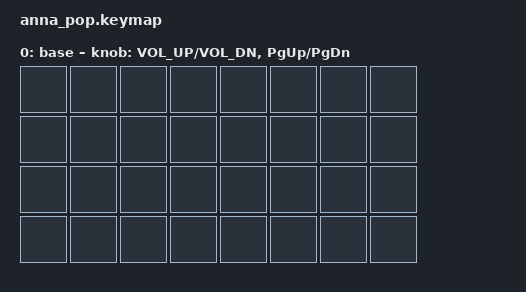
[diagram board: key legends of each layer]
/*
 * Copyright (c) 2021 The ZMK Contributors
 *
 * SPDX-License-Identifier: MIT
 */

#include <behaviors.dtsi>
#include <dt-bindings/zmk/keys.h>

#define _____ &none

/{
  keymap {
    compatible = "zmk,keymap";

    base {
      bindings = <
        _____ _____ _____ _____ _____ _____ _____ _____
        _____ _____ _____ _____ _____ _____ _____ _____
        _____ _____ _____ _____ _____ _____ _____ _____
        _____ _____ _____ _____ _____ _____ _____ _____
      >;

      sensor-bindings = <&inc_dec_kp C_VOL_UP C_VOL_DN &inc_dec_kp PG_UP PG_DN >;
    };

  };
};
